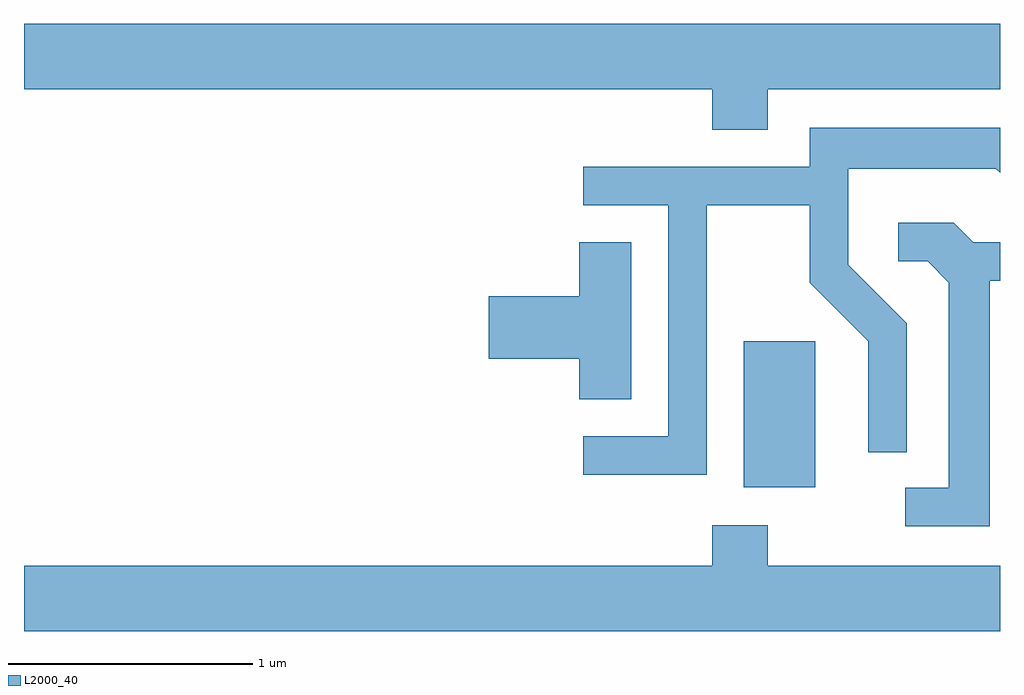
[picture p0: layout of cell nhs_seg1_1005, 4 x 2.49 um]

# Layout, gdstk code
import gdstk
lib = gdstk.Library(unit=1e-6, precision=1e-09)
def R(c, l, rs):  # rectangles x0, y0, x1, y1
    for r in rs: c.add(gdstk.rectangle(r[:2], r[2:], *l))
def P(c, l, *ps):  # polygons
    for p in ps: c.add(gdstk.Polygon(p, *l))
L2000_40 = (2000, 40)

nhs_seg1_1005 = lib.new_cell('nhs_seg1_1005')
R(nhs_seg1_1005, L2000_40, [(218.561,944.566,218.854,945.164)])
P(nhs_seg1_1005, L2000_40, [(218.659,946.196),(219.611,946.196),(219.611,946.464),(215.611,946.464),(215.611,946.196),(218.431,946.196),(218.431,946.031),(218.659,946.031)],
  [(218.409,945.721),(218.831,945.721),(218.831,945.404),(219.071,945.164),(219.071,944.708),(219.229,944.708),(219.229,945.237),(218.989,945.477),(218.989,945.871),(219.594,945.871),(219.611,945.854),(219.611,946.039),(218.831,946.039),(218.831,945.879),(217.903,945.879),(217.903,945.721),(218.251,945.721),(218.251,944.774),(217.903,944.774),(217.903,944.616),(218.409,944.616)],
  [(219.569,945.411),(219.611,945.411),(219.611,945.569),(219.502,945.569),(219.422,945.649),(219.193,945.649),(219.193,945.491),(219.314,945.491),(219.401,945.404),(219.401,944.564),(219.223,944.564),(219.223,944.406),(219.569,944.406)],
  [(218.099,945.569),(217.886,945.569),(217.886,945.349),(217.516,945.349),(217.516,945.091),(217.886,945.091),(217.886,944.926),(218.099,944.926)],
  [(219.611,944.244),(218.659,944.244),(218.659,944.409),(218.431,944.409),(218.431,944.244),(215.611,944.244),(215.611,943.976),(219.611,943.976)])

lib.write_gds('nhs_seg1_1005.gds')
